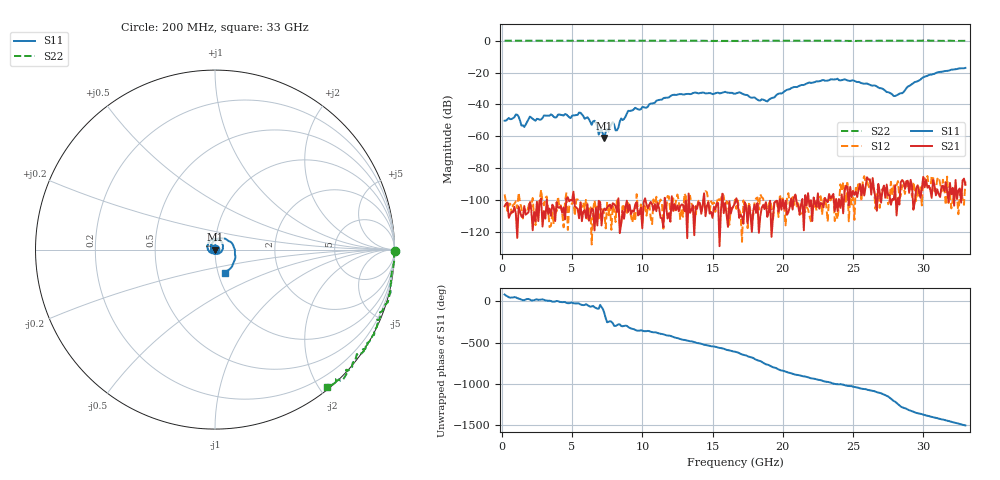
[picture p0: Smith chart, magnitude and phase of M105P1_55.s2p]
# GHZ S RI R 50
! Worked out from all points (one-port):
!   329 points, 200 MHz to 33 GHz, reference 50 ohm
!   lowest |S11| = -61.0 dB at 7.3 GHz (marker M1), VSWR 1.00, Z = 49.9 - j0.0544 ohm
!   |S11| at or under -10 dB: start of sweep to end of sweep
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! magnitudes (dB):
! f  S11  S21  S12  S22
! 200 MHz  -50.3  -103.9  -96.5  0.0
! 1.1 GHz  -46.5  -123.8  -105.2  0.0
! 1.6 GHz  -54.2  -103.7  -105.5  0.0
! 2 GHz  -47.7  -101.4  -100.5  0.0
! 5.7 GHz  -46.2  -113.3  -104.5  -0.1
! 6.4 GHz  -52.8  -105.3  -127.9  -0.1
! 6.6 GHz  -50.3  -119.1  -100.2  -0.1
! 6.9 GHz  -58.9  -100.5  -111.6  -0.1
! 7.1 GHz  -55.8  -116.0  -106.0  -0.1
! 7.3 GHz  -61.0  -105.3  -108.8  -0.1
! 7.9 GHz  -51.1  -102.0  -103.2  0.0
! 8.2 GHz  -56.2  -107.6  -98.9  0.0
! 9 GHz  -44.0  -107.5  -102.0  0.0
! 11.2 GHz  -37.2  -105.2  -101.9  0.0
! 16.6 GHz  -33.3  -101.9  -99.8  -0.1
! 18.9 GHz  -38.2  -110.6  -106.7  0.0
! 22.1 GHz  -26.4  -113.2  -106.2  0.0
! 25 GHz  -24.9  -94.3  -98.4  -0.1
! 27.6 GHz  -32.7  -97.1  -100.6  0.0
! 28 GHz  -34.7  -90.7  -91.6  0.0
! 30.4 GHz  -21.5  -91.1  -91.5  0.1
! 33 GHz  -17.1  -90.4  -88.3  -0.1
